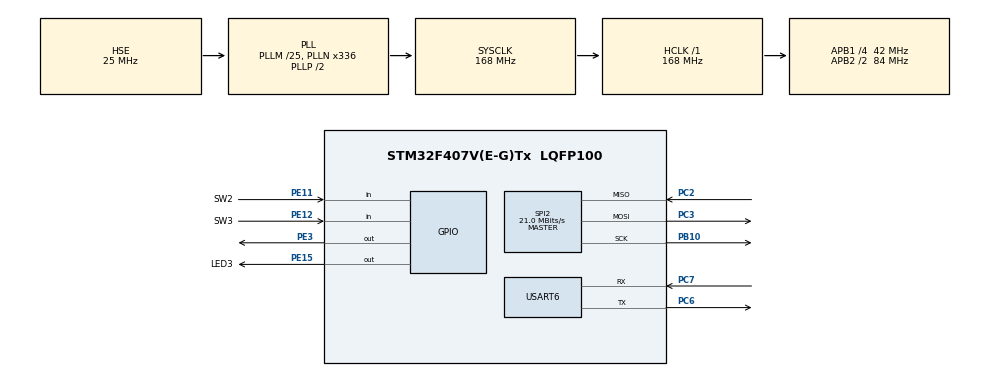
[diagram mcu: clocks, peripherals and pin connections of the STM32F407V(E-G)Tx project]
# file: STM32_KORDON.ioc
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Mcu.Family=STM32F4
Mcu.Name=STM32F407V(E-G)Tx
Mcu.Package=LQFP100
NVIC.PriorityGroup=NVIC_PRIORITYGROUP_4
NVIC.USART6_IRQn=true\:0\:0\:false\:false\:true\:true\:true\:true
PA13.Mode=Serial_Wire
PA13.Signal=SYS_JTMS-SWDIO
PA14.Mode=Serial_Wire
PA14.Signal=SYS_JTCK-SWCLK
PB10.Mode=Full_Duplex_Master
PB10.Signal=SPI2_SCK
PC2.Mode=Full_Duplex_Master
PC2.Signal=SPI2_MISO
PC3.Mode=Full_Duplex_Master
PC3.Signal=SPI2_MOSI
PC6.Mode=Asynchronous
PC6.Signal=USART6_TX
PC7.Mode=Asynchronous
PC7.Signal=USART6_RX
PE11.GPIO_Label=SW2
PE11.Signal=GPIO_Input
PE12.GPIO_Label=SW3
PE12.Signal=GPIO_Input
PE15.GPIO_Label=LED3
PE15.PinState=GPIO_PIN_SET
PE15.Signal=GPIO_Output
PE3.PinState=GPIO_PIN_SET
PE3.Signal=GPIO_Output
PH0-OSC_IN.Mode=HSE-External-Oscillator
PH0-OSC_IN.Signal=RCC_OSC_IN
PH1-OSC_OUT.Mode=HSE-External-Oscillator
PH1-OSC_OUT.Signal=RCC_OSC_OUT
ProjectManager.HeapSize=0x200
ProjectManager.StackSize=0x400
ProjectManager.TargetToolchain=STM32CubeIDE
RCC.48MHZClocksFreq_Value=48000000
RCC.AHBFreq_Value=168000000
RCC.APB1CLKDivider=RCC_HCLK_DIV4
RCC.APB1Freq_Value=42000000
RCC.APB1TimFreq_Value=84000000
RCC.APB2CLKDivider=RCC_HCLK_DIV2
RCC.APB2Freq_Value=84000000
RCC.APB2TimFreq_Value=168000000
RCC.CortexFreq_Value=168000000
RCC.HCLKFreq_Value=168000000
RCC.HSE_VALUE=25000000
RCC.HSI_VALUE=16000000
RCC.LSE_VALUE=32768
RCC.PLLM=25
RCC.PLLN=336
RCC.PLLQ=7
RCC.PLLSourceVirtual=RCC_PLLSOURCE_HSE
RCC.SYSCLKFreq_VALUE=168000000
RCC.SYSCLKSource=RCC_SYSCLKSOURCE_PLLCLK
RCC.VCOOutputFreq_Value=336000000
SPI2.CalculateBaudRate=21.0 MBits/s
SPI2.Direction=SPI_DIRECTION_2LINES
SPI2.Mode=SPI_MODE_MASTER
SPI2.VirtualType=VM_MASTER
USART6.VirtualMode=VM_ASYNC
board=custom

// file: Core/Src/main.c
/* USER CODE BEGIN Header */
/**
  ******************************************************************************
  * @file           : main.c
  * @brief          : Main program body
  ******************************************************************************
  * @attention
  *
  * Copyright (c) 2026 STMicroelectronics.
  * All rights reserved.
  *
  * This software is licensed under terms that can be found in the LICENSE file
  * in the root directory of this software component.
  * If no LICENSE file comes with this software, it is provided AS-IS.
  *
  ******************************************************************************
  */
/* USER CODE END Header */
#include "main.h"

/* USER CODE BEGIN Includes */

#include <stdio.h>
#include <string.h>

/* USER CODE END Includes */

SPI_HandleTypeDef hspi2;

UART_HandleTypeDef huart6;

void SystemClock_Config(void);
static void MX_GPIO_Init(void);
static void MX_USART6_UART_Init(void);
static void MX_SPI2_Init(void);

/* USER CODE BEGIN 0 */

#define FLASH_CS_LOW()  HAL_GPIO_WritePin(GPIOE, GPIO_PIN_3, GPIO_PIN_RESET)
#define FLASH_CS_HIGH() HAL_GPIO_WritePin(GPIOE, GPIO_PIN_3, GPIO_PIN_SET)

/* USER CODE END 0 */

int main(void)
{

  /* MCU Configuration--------------------------------------------------------*/

  /* Reset of all peripherals, Initializes the Flash interface and the Systick. */
  HAL_Init();

  /* Configure the system clock */
  SystemClock_Config();

  /* Initialize all configured peripherals */
  MX_GPIO_Init();
  MX_USART6_UART_Init();
  MX_SPI2_Init();
  /* USER CODE BEGIN 2 */

  // Erase the Sector

  uint8_t we_cmd = 0x06;

  FLASH_CS_LOW();
  HAL_SPI_Transmit(&hspi2, &we_cmd, 1, 100);
  FLASH_CS_HIGH();

  FLASH_CS_LOW();
  uint8_t erase_cmd[4] = {0x20, 0x00, 0x00, 0x00};
  HAL_SPI_Transmit(&hspi2, erase_cmd, 4, 100);
  FLASH_CS_HIGH();

  HAL_Delay(500);

  // Write the Data

  FLASH_CS_LOW();
  HAL_SPI_Transmit(&hspi2, &we_cmd, 1, 100);
  FLASH_CS_HIGH();

  FLASH_CS_LOW();
  uint8_t write_cmd[4] = {0x02, 0x00, 0x00, 0x00};
  char my_text[] = "Hello from Winbond!";

  HAL_SPI_Transmit(&hspi2, write_cmd, 4, 100);
  HAL_SPI_Transmit(&hspi2, (uint8_t*)my_text, sizeof(my_text), 100);
  FLASH_CS_HIGH();

  HAL_Delay(10);

  // Read the Data

  FLASH_CS_LOW();
  uint8_t read_cmd[4] = {0x03, 0x00, 0x00, 0x00};
  char read_buf[50] = {0};

  HAL_SPI_Transmit(&hspi2, read_cmd, 4, 100);

  HAL_SPI_Receive(&hspi2, (uint8_t*)read_buf, sizeof(my_text), 100);
  FLASH_CS_HIGH();

  printf("Read from Flash: %s\r\n", read_buf);

  /* USER CODE END 2 */

  /* Infinite loop */
  while (1)
  {

  }
}

void SystemClock_Config(void)
{
  RCC_OscInitTypeDef RCC_OscInitStruct = {0};
  RCC_ClkInitTypeDef RCC_ClkInitStruct = {0};

  /** Configure the main internal regulator output voltage
  */
  __HAL_RCC_PWR_CLK_ENABLE();
  __HAL_PWR_VOLTAGESCALING_CONFIG(PWR_REGULATOR_VOLTAGE_SCALE1);

  /** Initializes the RCC Oscillators according to the specified parameters
  * in the RCC_OscInitTypeDef structure.
  */
  RCC_OscInitStruct.OscillatorType = RCC_OSCILLATORTYPE_HSE;
  RCC_OscInitStruct.HSEState = RCC_HSE_ON;
  RCC_OscInitStruct.PLL.PLLState = RCC_PLL_ON;
  RCC_OscInitStruct.PLL.PLLSource = RCC_PLLSOURCE_HSE;
  RCC_OscInitStruct.PLL.PLLM = 25;
  RCC_OscInitStruct.PLL.PLLN = 336;
  RCC_OscInitStruct.PLL.PLLP = RCC_PLLP_DIV2;
  RCC_OscInitStruct.PLL.PLLQ = 7;
  if (HAL_RCC_OscConfig(&RCC_OscInitStruct) != HAL_OK)
  {
    Error_Handler();
  }

  /** Initializes the CPU, AHB and APB buses clocks
  */
  RCC_ClkInitStruct.ClockType = RCC_CLOCKTYPE_HCLK|RCC_CLOCKTYPE_SYSCLK
                              |RCC_CLOCKTYPE_PCLK1|RCC_CLOCKTYPE_PCLK2;
  RCC_ClkInitStruct.SYSCLKSource = RCC_SYSCLKSOURCE_PLLCLK;
  RCC_ClkInitStruct.AHBCLKDivider = RCC_SYSCLK_DIV1;
  RCC_ClkInitStruct.APB1CLKDivider = RCC_HCLK_DIV4;
  RCC_ClkInitStruct.APB2CLKDivider = RCC_HCLK_DIV2;

  if (HAL_RCC_ClockConfig(&RCC_ClkInitStruct, FLASH_LATENCY_5) != HAL_OK)
  {
    Error_Handler();
  }
}

static void MX_SPI2_Init(void)
{

  /* SPI2 parameter configuration*/
  hspi2.Instance = SPI2;
  hspi2.Init.Mode = SPI_MODE_MASTER;
  hspi2.Init.Direction = SPI_DIRECTION_2LINES;
  hspi2.Init.DataSize = SPI_DATASIZE_8BIT;
  hspi2.Init.CLKPolarity = SPI_POLARITY_LOW;
  hspi2.Init.CLKPhase = SPI_PHASE_1EDGE;
  hspi2.Init.NSS = SPI_NSS_SOFT;
  hspi2.Init.BaudRatePrescaler = SPI_BAUDRATEPRESCALER_2;
  hspi2.Init.FirstBit = SPI_FIRSTBIT_MSB;
  hspi2.Init.TIMode = SPI_TIMODE_DISABLE;
  hspi2.Init.CRCCalculation = SPI_CRCCALCULATION_DISABLE;
  hspi2.Init.CRCPolynomial = 10;
  if (HAL_SPI_Init(&hspi2) != HAL_OK)
  {
    Error_Handler();
  }

}

static void MX_USART6_UART_Init(void)
{

  huart6.Instance = USART6;
  huart6.Init.BaudRate = 115200;
  huart6.Init.WordLength = UART_WORDLENGTH_8B;
  huart6.Init.StopBits = UART_STOPBITS_1;
  huart6.Init.Parity = UART_PARITY_NONE;
  huart6.Init.Mode = UART_MODE_TX_RX;
  huart6.Init.HwFlowCtl = UART_HWCONTROL_NONE;
  huart6.Init.OverSampling = UART_OVERSAMPLING_16;
  if (HAL_UART_Init(&huart6) != HAL_OK)
  {
    Error_Handler();
  }

}

static void MX_GPIO_Init(void)
{
  GPIO_InitTypeDef GPIO_InitStruct = {0};

  /* GPIO Ports Clock Enable */
  __HAL_RCC_GPIOE_CLK_ENABLE();
  __HAL_RCC_GPIOH_CLK_ENABLE();
  __HAL_RCC_GPIOC_CLK_ENABLE();
  __HAL_RCC_GPIOB_CLK_ENABLE();
  __HAL_RCC_GPIOA_CLK_ENABLE();

  /*Configure GPIO pin Output Level */
  HAL_GPIO_WritePin(GPIOE, GPIO_PIN_3|LED3_Pin, GPIO_PIN_SET);

  /*Configure GPIO pins : PE3 LED3_Pin */
  GPIO_InitStruct.Pin = GPIO_PIN_3|LED3_Pin;
  GPIO_InitStruct.Mode = GPIO_MODE_OUTPUT_PP;
  GPIO_InitStruct.Pull = GPIO_NOPULL;
  GPIO_InitStruct.Speed = GPIO_SPEED_FREQ_LOW;
  HAL_GPIO_Init(GPIOE, &GPIO_InitStruct);

  /*Configure GPIO pins : SW2_Pin SW3_Pin */
  GPIO_InitStruct.Pin = SW2_Pin|SW3_Pin;
  GPIO_InitStruct.Mode = GPIO_MODE_INPUT;
  GPIO_InitStruct.Pull = GPIO_NOPULL;
  HAL_GPIO_Init(GPIOE, &GPIO_InitStruct);

}

/* USER CODE BEGIN 4 */

int _write(int file, char *ptr, int len){

	HAL_UART_Transmit(&huart6, (uint8_t*)ptr, len, HAL_MAX_DELAY);
	return len;

}

/* USER CODE END 4 */

void Error_Handler(void)
{
  __disable_irq();
  while (1)
  {
  }
}
